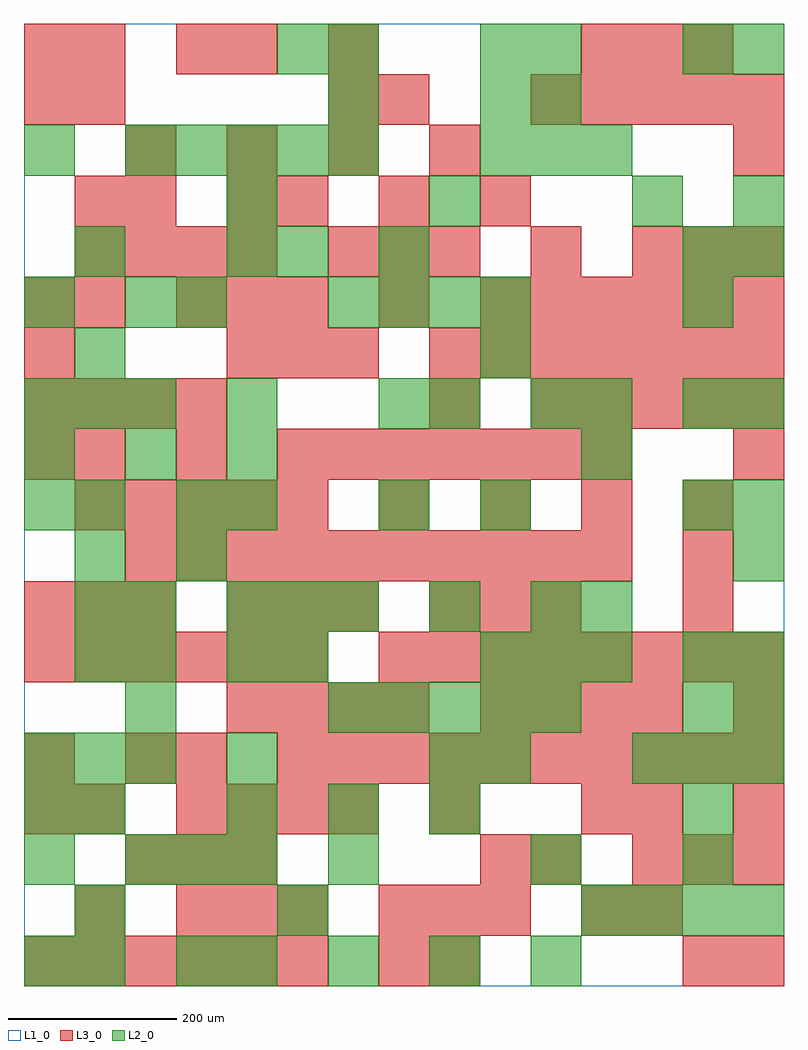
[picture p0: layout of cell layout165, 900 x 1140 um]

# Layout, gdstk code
import gdstk
lib = gdstk.Library(unit=1e-6, precision=1e-09)
def R(c, l, rs):  # rectangles x0, y0, x1, y1
    for r in rs: c.add(gdstk.rectangle(r[:2], r[2:], *l))
def A(c, l, x, y, w, h, nx, ny, dx, dy):  # array of equal rectangles
    R(c, l, [(x+i*dx, y+j*dy, x+i*dx+w, y+j*dy+h) for i in range(nx) for j in range(ny)])
L1_0 = (1, 0)
L2_0 = (2, 0)
L3_0 = (3, 0)

layout165 = lib.new_cell('layout165')
R(layout165, L1_0, [(0,0,900,1140)])
A(layout165, L2_0, 240, 0, 60, 60, 4, 1, 120, 0)
A(layout165, L2_0, 660, 60, 60, 60, 4, 1, 60, 0)
A(layout165, L2_0, 120, 120, 60, 60, 3, 1, 60, 0)
A(layout165, L2_0, 240, 180, 60, 60, 3, 1, 120, 0)
A(layout165, L2_0, 0, 240, 60, 60, 3, 2, 60, 420)
A(layout165, L2_0, 720, 240, 60, 60, 3, 1, 60, 0)
A(layout165, L2_0, 120, 300, 60, 60, 1, 3, 0, 60)
A(layout165, L2_0, 360, 300, 60, 60, 5, 1, 60, 0)
A(layout165, L2_0, 60, 360, 60, 60, 1, 4, 0, 60)
A(layout165, L2_0, 540, 360, 60, 60, 3, 2, 60, 600)
A(layout165, L2_0, 240, 420, 60, 60, 3, 1, 60, 0)
A(layout165, L2_0, 780, 540, 60, 60, 1, 3, 0, 120)
A(layout165, L2_0, 0, 600, 60, 60, 3, 1, 120, 0)
A(layout165, L2_0, 360, 780, 60, 60, 4, 1, 60, 0)
A(layout165, L2_0, 240, 900, 60, 60, 3, 1, 240, 0)
A(layout165, L2_0, 120, 960, 60, 60, 5, 1, 60, 0)
R(layout165, L2_0, [(0,0,60,60), (60,0,120,60), (180,0,240,60), (60,60,120,120), (300,60,360,120), (0,120,60,180), (360,120,420,180), (600,120,660,180), (780,120,840,180), (0,180,60,240), (60,180,120,240), (780,180,840,240), (240,240,300,300), (480,240,540,300), (540,240,600,300), (780,300,840,360), (840,300,900,360), (240,360,300,420), (300,360,360,420), (780,360,840,420), (840,360,900,420), (480,420,540,480), (600,420,660,480), (660,420,720,480), (180,480,240,540), (840,480,900,540), (0,540,60,600), (180,540,240,600), (240,540,300,600), (420,540,480,600), (540,540,600,600), (840,540,900,600), (660,600,720,660), (240,660,300,720), (420,660,480,720), (480,660,540,720), (600,660,660,720), (660,660,720,720), (840,660,900,720), (60,720,120,780), (540,720,600,780), (0,780,60,840), (120,780,180,840), (180,780,240,840), (60,840,120,900), (240,840,300,900), (300,840,360,900), (420,840,480,900), (780,840,840,900), (840,840,900,900), (840,900,900,960), (0,960,60,1020), (360,1020,420,1080), (540,1020,600,1080), (600,1020,660,1080), (300,1080,360,1140), (360,1080,420,1140), (540,1080,600,1140), (600,1080,660,1140), (780,1080,840,1140), (840,1080,900,1140)])
A(layout165, L3_0, 0, 0, 60, 60, 6, 2, 60, 360)
A(layout165, L3_0, 180, 60, 60, 60, 3, 2, 60, 720)
A(layout165, L3_0, 420, 60, 60, 60, 3, 1, 60, 0)
A(layout165, L3_0, 120, 120, 60, 60, 3, 1, 60, 0)
A(layout165, L3_0, 720, 120, 60, 60, 3, 2, 60, 720)
A(layout165, L3_0, 180, 180, 60, 60, 4, 1, 60, 0)
A(layout165, L3_0, 300, 240, 60, 60, 10, 1, 60, 0)
A(layout165, L3_0, 240, 300, 60, 60, 4, 1, 60, 0)
A(layout165, L3_0, 540, 300, 60, 60, 4, 1, 60, 0)
A(layout165, L3_0, 420, 360, 60, 60, 8, 1, 60, 0)
A(layout165, L3_0, 0, 420, 60, 60, 3, 1, 60, 0)
A(layout165, L3_0, 240, 420, 60, 60, 3, 2, 60, 300)
A(layout165, L3_0, 480, 420, 60, 60, 3, 1, 60, 0)
A(layout165, L3_0, 120, 480, 60, 60, 10, 1, 60, 0)
A(layout165, L3_0, 60, 540, 60, 60, 5, 1, 60, 0)
A(layout165, L3_0, 420, 540, 60, 60, 4, 1, 120, 0)
A(layout165, L3_0, 60, 600, 60, 60, 3, 1, 120, 0)
A(layout165, L3_0, 360, 600, 60, 60, 6, 1, 60, 0)
A(layout165, L3_0, 0, 660, 60, 60, 4, 1, 60, 0)
A(layout165, L3_0, 600, 660, 60, 60, 5, 2, 60, 360)
A(layout165, L3_0, 480, 720, 60, 60, 7, 1, 60, 0)
A(layout165, L3_0, 60, 780, 60, 60, 1, 3, 0, 120)
A(layout165, L3_0, 540, 780, 60, 60, 6, 1, 60, 0)
A(layout165, L3_0, 60, 840, 60, 60, 4, 1, 60, 0)
A(layout165, L3_0, 360, 840, 60, 60, 3, 1, 60, 0)
A(layout165, L3_0, 300, 900, 60, 60, 3, 1, 120, 0)
A(layout165, L3_0, 120, 960, 60, 60, 4, 1, 120, 0)
A(layout165, L3_0, 660, 1080, 60, 60, 3, 1, 60, 0)
R(layout165, L3_0, [(420,0,480,60), (480,0,540,60), (780,0,840,60), (840,0,900,60), (60,60,120,120), (660,60,720,120), (720,60,780,120), (540,120,600,180), (600,120,660,180), (0,180,60,240), (60,180,120,240), (480,180,540,240), (660,180,720,240), (720,180,780,240), (840,180,900,240), (0,240,60,300), (120,240,180,300), (180,240,240,300), (840,300,900,360), (780,420,840,480), (780,480,840,540), (0,600,60,660), (840,600,900,660), (480,660,540,720), (0,720,60,780), (0,780,60,840), (420,780,480,840), (600,840,660,900), (120,900,180,960), (240,900,300,960), (840,960,900,1020), (0,1020,60,1080), (360,1020,420,1080), (420,1020,480,1080), (0,1080,60,1140), (60,1080,120,1140), (180,1080,240,1140), (240,1080,300,1140), (360,1080,420,1140)])

lib.write_gds('layout165.gds')
